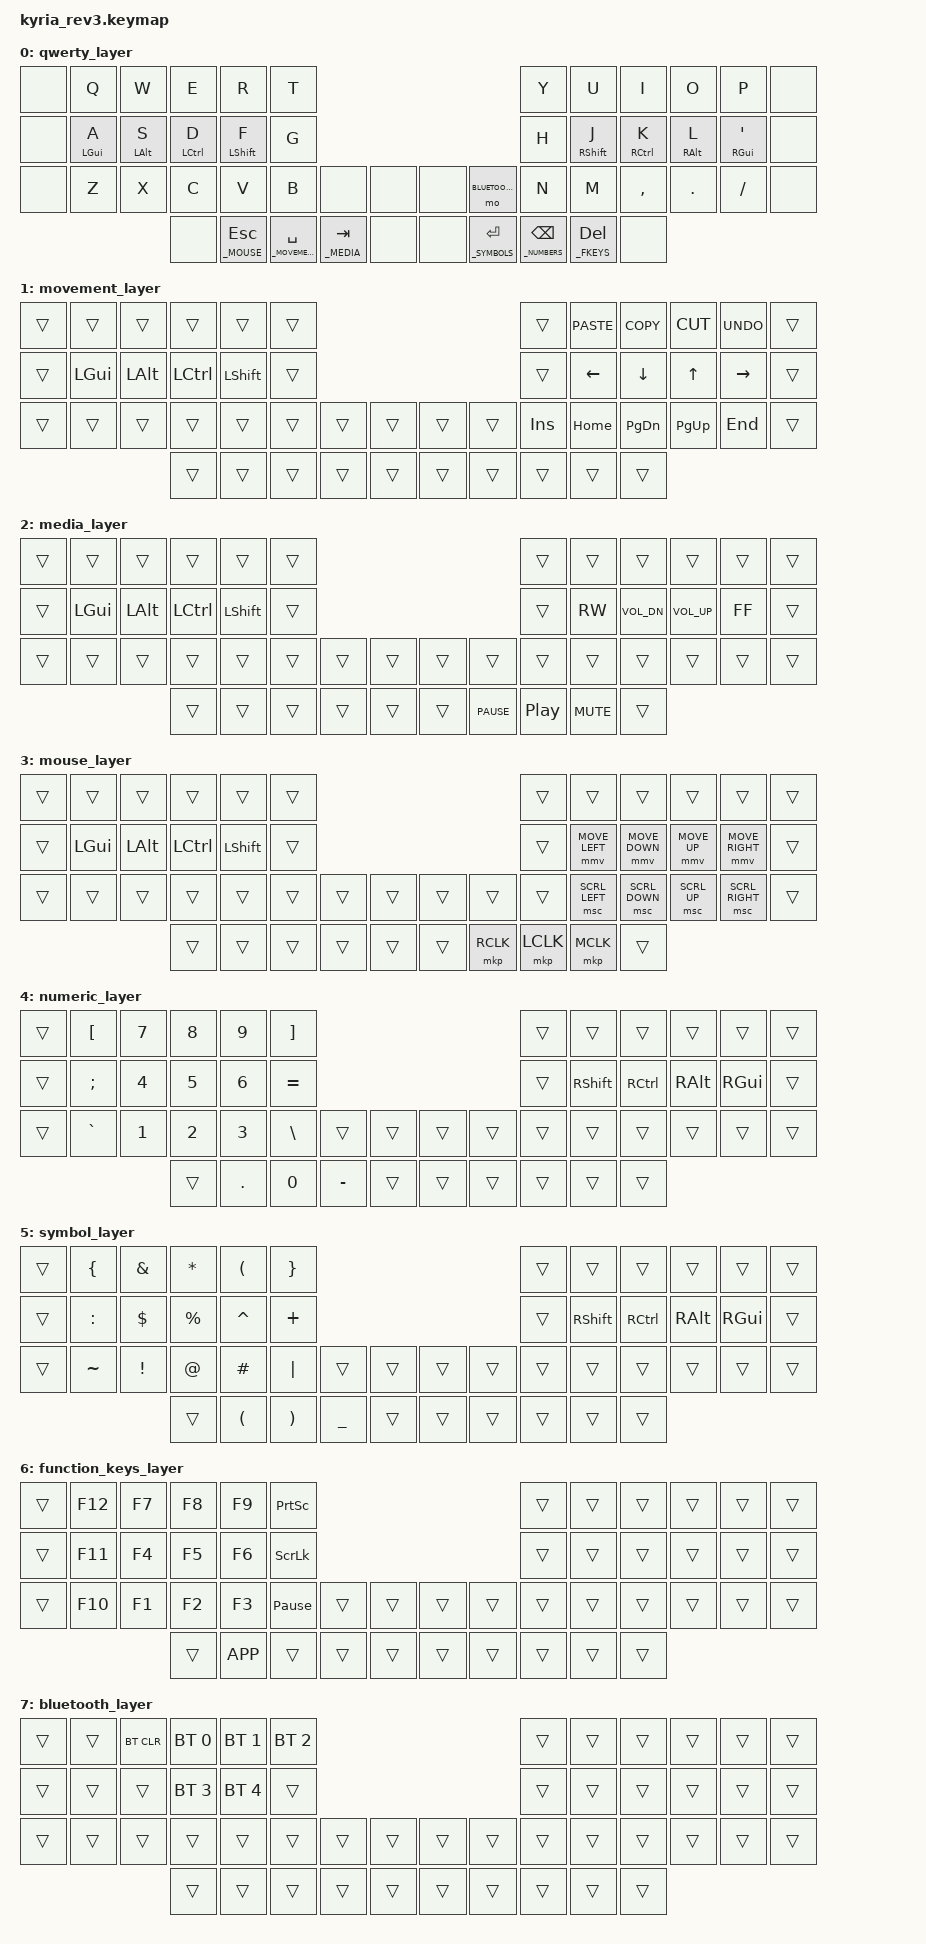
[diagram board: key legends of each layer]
/*
 * Copyright (c) 2023 The ZMK Contributors
 *
 * SPDX-License-Identifier: MIT
 */

#include <behaviors.dtsi>
#include <dt-bindings/zmk/bt.h>
#include <dt-bindings/zmk/keys.h>

// Mouse pointer behaviour:
#define ZMK_POINTING_DEFAULT_MOVE_VAL 1500  // default: 600
#define ZMK_POINTING_DEFAULT_SCRL_VAL 20    // default: 10
#include <dt-bindings/zmk/pointing.h>

/* Uncomment this block if using RGB
&led_strip {
    chain-length = <6>;
    // chain-length = <31>; // Uncomment if using both per-key and underglow LEDs
    // chain-length = <25>; // Uncomment if using only per-key LEDs.
};
 */

// Names for layers
#define _QWERTY 0
#define _MOVEMENT 1
#define _MEDIA 2
#define _MOUSE 3
#define _NUMBERS 4
#define _SYMBOLS 5
#define _FKEYS 6
#define _BLUETOOTH 7

/ {
    keymap {
        compatible = "zmk,keymap";

        qwerty_layer {
            // ------------------------------------------------------------------------------------------------------------------------------------------------------------------------------
            // | n/a | Q     | W     | E      | R          | T               |                                              | Y                | U          |  I     | O     | P     |  n/a |
            // | n/a | GUI/A | ALT/S | CTRL/D | SHIFT/F    | G               |                                              | H                | SHIFT/J    | CTRL/K | ALT/L | GUI/' |  n/a |
            // | n/a | Z     | X     | C      | V          | B               | n/a        | n/a |      | n/a | _BLUETOOTH   | N                | M          |  ,     |  .    |   /   |  n/a |
            //                       | n/a    | _MOUSE/ESC | _MOVEMENT/SPACE | _MEDIA/TAB | n/a |      | n/a | _SYMBOLS/RET | _NUMBERS/BKSPACE | _FKEYS/DEL | n/a    | n/a   |
            bindings = <
            &none     &kp Q      &kp W      &kp E       &kp R          &kp T                                                                    &kp Y             &kp U          &kp I       &kp O      &kp P          &none
            &none     &mt LGUI A &mt LALT S &mt LCTRL D &mt LSHFT F    &kp G                                                                    &kp H             &mt RSHFT J    &mt RCTRL K &mt RALT L &mt RGUI APOS  &none
            &none     &kp Z      &kp X      &kp C       &kp V          &kp B               &none          &none      &none     &mo _BLUETOOTH   &kp N             &kp M          &kp COMMA   &kp DOT    &kp FSLH &none
                                            &none       &lt _MOUSE ESC &lt _MOVEMENT SPACE &lt _MEDIA TAB &none      &none     &lt _SYMBOLS RET &lt _NUMBERS BSPC &lt _FKEYS DEL &none
            >;
        };

        movement_layer {
            // ------------------------------------------------------------------------------------------------------------------
            // |     |     |      |      |       |      |                        |         | PASTE | COPY | CUT  | UNDO  |      |
            // |     | GUI | ALT  | CTRL | SHIFT |      |                        |         | LEFT  | DOWN | UP   | RIGHT |      |
            // |     |     |      |      |       |      |   |   |      |   |     | INS     | HOME  | PGDN | PGUP | END   |      |
            //                    |      |       |      |   |   |      |   | RET | BKSPACE | DEL   |      |      |       |
            bindings = <
            &trans &trans   &trans   &trans    &trans    &trans                                       &trans  &kp K_PASTE &kp K_COPY  &kp K_CUT &kp K_UNDO &trans
            &trans &kp LGUI &kp LALT &kp LCTRL &kp LSHFT &trans                                       &trans  &kp LEFT    &kp DOWN    &kp UP    &kp RIGHT  &trans
            &trans &trans   &trans   &trans    &trans    &trans &trans &trans        &trans  &trans   &kp INS &kp HOME    &kp PG_DN   &kp PG_UP &kp END    &trans
                                     &trans    &trans    &trans &trans &trans        &trans  &trans   &trans  &trans      &trans
            >;
        };

        media_layer {
            // --------------------------------------------------------------------------------------------------------------------------
            // |     |     |      |      |       |      |                          |            |        |          |        |      |   |
            // |     | GUI | ALT  | CTRL | SHIFT |      |                          |            | REWIND | VOL_DOWN | VOL_UP | FFWD |   |
            // |     |     |      |      |       |      |   |   |      |   |       |            |        |          |        |      |   |
            //                    |      |       |      |   |   |      |   | PAUSE | PLAY/PAUSE | MUTE   |          |
            bindings = <
            &trans &trans   &trans   &trans    &trans    &trans                                       &trans   &trans     &trans       &trans       &trans   &trans
            &trans &kp LGUI &kp LALT &kp LCTRL &kp LSHFT &trans                                       &trans   &kp C_RW   &kp C_VOL_DN &kp C_VOL_UP &kp C_FF &trans
            &trans &trans   &trans   &trans    &trans    &trans &trans &trans      &trans &trans      &trans   &trans     &trans       &trans       &trans   &trans
                                     &trans    &trans    &trans &trans &trans      &trans &kp C_PAUSE &kp C_PP &kp C_MUTE &trans
            >;
        };

        mouse_layer {
            // ----------------------------------------------------------------------------------------------------------------------------------------------
            // |  |     |      |      |       |  |                                        |          |            |            |          |             |   |
            // |  | GUI | ALT  | CTRL | SHIFT |  |                                        |          | MOUSE_LEFT | MOUSE_DOWN | MOUSE_UP | MOUSE_RIGHT |   |
            // |  |     |      |      |       |  |   |   |                 |   |          |          | WHEEL_LEFT | WHEEL_DOWN | WHEEL_UP | WHEEL_RIGHT |   |
            //                 |      |       |  |   |   |                 |   | BUTTON_2 | BUTTON_1 | BUTTON_3   |            |
            bindings = <
            &trans &trans   &trans   &trans    &trans    &trans                                   &trans    &trans         &trans         &trans       &trans          &trans
            &trans &kp LGUI &kp LALT &kp LCTRL &kp LSHFT &trans                                   &trans    &mmv MOVE_LEFT &mmv MOVE_DOWN &mmv MOVE_UP &mmv MOVE_RIGHT &trans
            &trans &trans   &trans   &trans    &trans    &trans &trans &trans    &trans &trans    &trans    &msc SCRL_LEFT &msc SCRL_DOWN &msc SCRL_UP &msc SCRL_RIGHT &trans
                                     &trans    &trans    &trans &trans &trans    &trans &mkp RCLK &mkp LCLK &mkp MCLK      &trans
            >;
        };

        numeric_layer {
            // --------------------------------------------------------------------------------------------------------------------------
            // |       |   [  |   7  |  8   |  9   |  ]   |                                 |       |       |      |      |      |      |
            // |       |   ;  |   4  |  5   |  6   |  =   |                                 |       | SHIFT | CTRL | ALT  | GUI  |      |
            // |       |   `  |   1  |  2   |  3   |  \   |      |   |        |      |      |       |       |      |      |      |      |
            //                       |      |  .   |  0   |   -  |   |        |      |      |       |       |      |
            bindings = <
            &trans &kp LBKT  &kp N7 &kp N8 &kp N9  &kp RBKT                                       &trans &trans    &trans     &trans    &trans   &trans
            &trans &kp SEMI  &kp N4 &kp N5 &kp N6  &kp EQUAL                                      &trans &kp RSHFT &kp RCTRL  &kp RALT  &kp RGUI &trans
            &trans &kp GRAVE &kp N1 &kp N2 &kp N3  &kp BSLH  &trans    &trans       &trans &trans &trans &trans    &trans     &trans    &trans   &trans
                                    &trans &kp DOT &kp N0    &kp MINUS &trans       &trans &trans &trans &trans    &trans
            >;
        };

        symbol_layer {
            // --------------------------------------------------------------------------------------------------------------------------
            // |       |  {   |  &   |  *   |  (   |  }   |                                 |       |       |      |      |      |      |
            // |       |  :   |  $   |  %   |  ^   |  +   |                                 |       | SHIFT | CTRL | ALT  | GUI  |      |
            // |       |  ~   |  !   |  @   |  #   |  |   |      |   |        |      |      |       |       |      |      |      |      |
            //                       |      |  (   |  )   |  _   |   |        |      |      |       |       |      |
            bindings = <
            &trans &kp LBRC  &kp AMPS &kp STAR  &kp LPAR  &kp RBRC                                        &trans &trans    &trans    &trans   &trans   &trans
            &trans &kp COLON &kp DLLR &kp PRCNT &kp CARET &kp PLUS                                        &trans &kp RSHFT &kp RCTRL &kp RALT &kp RGUI &trans
            &trans &kp TILDE &kp EXCL &kp AT    &kp HASH  &kp PIPE &trans    &trans         &trans &trans &trans &trans    &trans    &trans   &trans   &trans
                                      &trans    &kp LPAR  &kp RPAR &kp UNDER &trans         &trans &trans &trans &trans    &trans
            >;
        };

        function_keys_layer {
            // ----------------------------------------------------------------------------------------------------------
            // |       |  f12 |  f7  | f8 |  f9      | PrtSc  |                      |   |       |      |     |     |   |
            // |       |  f11 |  f4  | f5 |  f6      | ScrlLck|                      |   | SHIFT | CTRL | ALT | GUI |   |
            // |       |  f10 |  f1  | f2 |  f3      | Pause  |   |   |      |   |   |   |       |      |     |     |   |
            //                       |    | app menu |        |   |   |      |   |   |   |       |      |     |
            bindings = <
            &trans &kp F12  &kp F7  &kp F8  &kp F9    &kp PSCRN                                          &trans &trans &trans &trans &trans &trans
            &trans &kp F11  &kp F4  &kp F5  &kp F6    &kp SLCK                                           &trans &trans &trans &trans &trans &trans
            &trans &kp F10  &kp F1  &kp F2  &kp F3    &kp PAUSE_BREAK &trans &trans        &trans &trans &trans &trans &trans &trans &trans &trans
                                    &trans  &kp K_APP &trans          &trans &trans        &trans &trans &trans &trans &trans
            >;
        };

        bluetooth_layer {
            // ---------------------------------------------------------------------------------------------------------------------------------
            // |       |      |BT_CLR|BTSEL0|BTSEL1|BTSEL2|                                         |      |      |      |      |      |      |
            // |       |      |      |BTSEL3|BTSEL4|      |                                         |      |      |      |      |      |      |
            // |       |      |      |      |      |      |      |      |      |      |      |      |      |      |      |      |      |      |
            //                       |      |      |      |      |      |      |      |      |      |      |      |      |
            bindings = <
            &trans &trans &bt BT_CLR &bt BT_SEL 0 &bt BT_SEL 1 &bt BT_SEL 2              &trans &trans &trans &trans &trans &trans
            &trans &trans &trans     &bt BT_SEL 3 &bt BT_SEL 4 &trans                    &trans &trans &trans &trans &trans &trans
            &trans &trans &trans &trans &trans &trans &trans &trans        &trans &trans &trans &trans &trans &trans &trans &trans
                                 &trans &trans &trans &trans &trans        &trans &trans &trans &trans &trans
            >;
        };
    };
};
